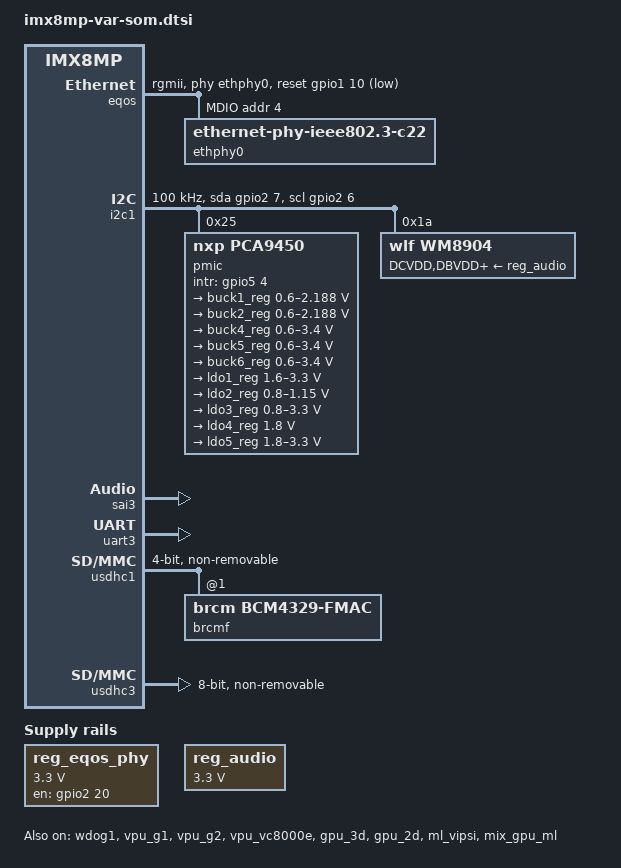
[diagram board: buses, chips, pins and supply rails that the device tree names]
// SPDX-License-Identifier: (GPL-2.0+ OR MIT)
/*
 * Copyright 2019 NXP
 * Copyright 2020-2021 Variscite Ltd.
 */

/dts-v1/;

#include <dt-bindings/usb/pd.h>
#include "imx8mp.dtsi"

/ {
	compatible = "variscite,imx8mp-var-som", "fsl,imx8mp";

	aliases {
		ethernet0 = &eqos;
		ethernet1 = &fec;
	};

	/delete-node/ memory@40000000;

	reserved-memory {
		/* CMA region is configured by kernel command line as cma=<size>M */
		/delete-node/ linux,cma;
	};

	reg_eqos_phy: regulator-eqos-phy {
		compatible = "regulator-fixed";
		regulator-name = "eqos-phy";
		regulator-min-microvolt = <3300000>;
		regulator-max-microvolt = <3300000>;
		gpio = <&gpio2 20 GPIO_ACTIVE_HIGH>;
		enable-active-high;
		regulator-always-on;
	};

	reg_audio: regulator-audio-vdd {
		compatible = "regulator-fixed";
		regulator-name = "wm8904_supply";
		regulator-min-microvolt = <3300000>;
		regulator-max-microvolt = <3300000>;
		regulator-always-on;
	};

	sound-wm8904 {
		compatible = "fsl,imx-audio-wm8904";
		model = "wm8904-audio";
		audio-cpu = <&sai3>;
		audio-codec = <&wm8904>;
		audio-routing =
			"Headphone Jack", "HPOUTL",
			"Headphone Jack", "HPOUTR",
			"IN2L", "Line In Jack",
			"IN2R", "Line In Jack",
			"IN1L", "Mic Jack",
			"Playback", "CPU-Playback",
			"CPU-Capture", "Capture";
		status = "okay";
	};
};

&clk {
	init-on-array = <IMX8MP_CLK_HSIO_ROOT>;
};

&A53_0 {
	cpu-supply = <&buck2_reg>;
};

&eqos {
	pinctrl-names = "default";
	pinctrl-0 = <&pinctrl_eqos>;
	phy-mode = "rgmii";
	phy-handle = <&ethphy0>;
	snps,reset-gpio = <&gpio1 10 GPIO_ACTIVE_LOW>;
	snps,reset-delays-us = <100000 10000 100000>;
	mdio_rst_after_resume;
	status = "okay";

	mdio {
		compatible = "snps,dwmac-mdio";
		#address-cells = <1>;
		#size-cells = <0>;

		ethphy0: ethernet-phy@4 {
			compatible = "ethernet-phy-ieee802.3-c22";
			reg = <4>;
			at803x,eee-disabled;
			at803x,vddio-1p8v;
			eee-broken-1000t;
		};
	};
};

&i2c1 {
	clock-frequency = <100000>;
	pinctrl-names = "default", "gpio";
	pinctrl-0 = <&pinctrl_i2c1>;
	pinctrl-1 = <&pinctrl_i2c1_gpio>;
	scl-gpios = <&gpio2 6 GPIO_ACTIVE_HIGH>;
	sda-gpios = <&gpio2 7 GPIO_ACTIVE_HIGH>;
	status = "okay";

	pmic: pca9450@25 {
		reg = <0x25>;
		compatible = "nxp,pca9450";
		pinctrl-0 = <&pinctrl_pmic>;
		gpio_intr = <&gpio5 4 IRQ_TYPE_LEVEL_LOW>;
		status = "okay";

		regulators {
			#address-cells = <1>;
			#size-cells = <0>;

			pca9450,pmic-buck2-uses-i2c-dvs;
			/* Run/Standby voltage */
			pca9450,pmic-buck2-dvs-voltage = <950000>, <850000>;

			buck1_reg: regulator@0 {
				reg = <0>;
				regulator-compatible = "buck1";
				regulator-min-microvolt = <600000>;
				regulator-max-microvolt = <2187500>;
				regulator-boot-on;
				regulator-always-on;
				regulator-ramp-delay = <3125>;
			};

			buck2_reg: regulator@1 {
				reg = <1>;
				regulator-compatible = "buck2";
				regulator-min-microvolt = <600000>;
				regulator-max-microvolt = <2187500>;
				regulator-boot-on;
				regulator-always-on;
				regulator-ramp-delay = <3125>;
			};

			buck4_reg: regulator@3 {
				reg = <3>;
				regulator-compatible = "buck4";
				regulator-min-microvolt = <600000>;
				regulator-max-microvolt = <3400000>;
				regulator-boot-on;
				regulator-always-on;
			};

			buck5_reg: regulator@4 {
				reg = <4>;
				regulator-compatible = "buck5";
				regulator-min-microvolt = <600000>;
				regulator-max-microvolt = <3400000>;
				regulator-boot-on;
				regulator-always-on;
			};

			buck6_reg: regulator@5 {
				reg = <5>;
				regulator-compatible = "buck6";
				regulator-min-microvolt = <600000>;
				regulator-max-microvolt = <3400000>;
				regulator-boot-on;
				regulator-always-on;
			};

			ldo1_reg: regulator@6 {
				reg = <6>;
				regulator-compatible = "ldo1";
				regulator-min-microvolt = <1600000>;
				regulator-max-microvolt = <3300000>;
				regulator-boot-on;
				regulator-always-on;
			};

			ldo2_reg: regulator@7 {
				reg = <7>;
				regulator-compatible = "ldo2";
				regulator-min-microvolt = <800000>;
				regulator-max-microvolt = <1150000>;
				regulator-boot-on;
				regulator-always-on;
			};

			ldo3_reg: regulator@8 {
				reg = <8>;
				regulator-compatible = "ldo3";
				regulator-min-microvolt = <800000>;
				regulator-max-microvolt = <3300000>;
				regulator-boot-on;
				regulator-always-on;
			};

			ldo4_reg: regulator@9 {
				reg = <9>;
				regulator-compatible = "ldo4";
				regulator-min-microvolt = <1800000>;
				regulator-max-microvolt = <1800000>;
				regulator-always-on;
			};

			ldo5_reg: regulator@10 {
				reg = <10>;
				regulator-compatible = "ldo5";
				regulator-min-microvolt = <1800000>;
				regulator-max-microvolt = <3300000>;
			};
		};
	};

	wm8904: codec@1a {
		compatible = "wlf,wm8904";
		reg = <0x1a>;
		clocks = <&audiomix_clk IMX8MP_CLK_AUDIOMIX_SAI3_MCLK1>;
		clock-names = "mclk";
		DCVDD-supply = <&reg_audio>;
		DBVDD-supply = <&reg_audio>;
		AVDD-supply = <&reg_audio>;
		CPVDD-supply = <&reg_audio>;
		MICVDD-supply = <&reg_audio>;
		num-drc-cfgs = <5>;
		drc-cfg-names = "default", "peaklimiter", "tradition", "soft", "music";
		drc-cfg-regs =
				/* coded default: KNEE_IP = KNEE_OP = 0, HI_COMP = LO_COMP = 1  */
				<0x01af 0x3248 0x0000 0x0000>,
				/* coded default: KNEE_IP = -24, KNEE_OP = -6, HI_COMP = 1/4, LO_COMP = 1 */
				<0x04af 0x324b 0x0010 0x0408>,
				/* coded default: KNEE_IP = -42, KNEE_OP = -3, HI_COMP = 0, LO_COMP = 1 */
				<0x04af 0x324b 0x0028 0x0704>,
				/* coded default: KNEE_IP = -45, KNEE_OP = -9, HI_COMP = 1/8, LO_COMP = 1 */
				<0x04af 0x324b 0x0018 0x078c>,
				/* coded default: KNEE_IP = -30, KNEE_OP = -10.5, HI_COMP = 1/4, LO_COMP = 1 */
				<0x04af 0x324b 0x0010 0x050e>;
		gpio-cfg = <
			0x0018 /* GPIO1 => DMIC_CLK */
			0xffff /* GPIO2 => don't touch */
			0xffff /* GPIO3 => don't touch */
			0xffff /* GPIO4 => don't touch */
		>;
		status = "okay";
	};
};

&sai3 {
	pinctrl-names = "default";
	pinctrl-0 = <&pinctrl_sai3>;
	assigned-clocks = <&clk IMX8MP_CLK_SAI3>;
	assigned-clock-parents = <&clk IMX8MP_AUDIO_PLL1_OUT>;
	assigned-clock-rates = <11536000>;
	fsl,sai-mclk-direction-output;
	status = "okay";
};

&sdma2 {
	status = "okay";
};

/* BT */
&uart3 {
	pinctrl-names = "default";
	pinctrl-0 = <&pinctrl_uart3>, <&pinctrl_bt>;
	assigned-clocks = <&clk IMX8MP_CLK_UART3>;
	assigned-clock-parents = <&clk IMX8MP_SYS_PLL1_80M>;
	uart-has-rtscts;
	status = "okay";
};

&usdhc1 {
	#address-cells = <1>;
	#size-cells = <0>;
	pinctrl-names = "default", "state_100mhz", "state_200mhz";
	pinctrl-0 = <&pinctrl_usdhc1>, <&pinctrl_wifi>;
	pinctrl-1 = <&pinctrl_usdhc1_100mhz>, <&pinctrl_wifi>;
	pinctrl-2 = <&pinctrl_usdhc1_200mhz>, <&pinctrl_wifi>;
	bus-width = <4>;
	non-removable;
	keep-power-in-suspend;
	status = "okay";

	brcmf: bcrmf@1 {
		reg = <1>;
		compatible = "brcm,bcm4329-fmac";
	};
};

&usdhc3 {
	pinctrl-names = "default", "state_100mhz", "state_200mhz";
	pinctrl-0 = <&pinctrl_usdhc3>;
	pinctrl-1 = <&pinctrl_usdhc3_100mhz>;
	pinctrl-2 = <&pinctrl_usdhc3_200mhz>;
	bus-width = <8>;
	non-removable;
	status = "okay";
};

&wdog1 {
	pinctrl-names = "default";
	pinctrl-0 = <&pinctrl_wdog>;
	fsl,ext-reset-output;
	status = "okay";
};

&vpu_g1 {
	status = "okay";
};

&vpu_g2 {
	status = "okay";
};

&vpu_vc8000e {
	status = "okay";
};

&gpu_3d {
	status = "okay";
};

&gpu_2d {
	status = "okay";
};

&ml_vipsi {
	status = "okay";
};

&mix_gpu_ml {
	status = "okay";
};

&snvs_rtc {
	status = "disabled";
};

&iomuxc {
	pinctrl-names = "default";

	pinctrl_eqos: eqosgrp {
		fsl,pins = <
			MX8MP_IOMUXC_ENET_MDC__ENET_QOS_MDC				0x3
			MX8MP_IOMUXC_ENET_MDIO__ENET_QOS_MDIO				0x3
			MX8MP_IOMUXC_ENET_RD0__ENET_QOS_RGMII_RD0			0x91
			MX8MP_IOMUXC_ENET_RD1__ENET_QOS_RGMII_RD1			0x91
			MX8MP_IOMUXC_ENET_RD2__ENET_QOS_RGMII_RD2			0x91
			MX8MP_IOMUXC_ENET_RD3__ENET_QOS_RGMII_RD3			0x91
			MX8MP_IOMUXC_ENET_RXC__CCM_ENET_QOS_CLOCK_GENERATE_RX_CLK	0x91
			MX8MP_IOMUXC_ENET_RX_CTL__ENET_QOS_RGMII_RX_CTL			0x91
			MX8MP_IOMUXC_ENET_TD0__ENET_QOS_RGMII_TD0			0x1f
			MX8MP_IOMUXC_ENET_TD1__ENET_QOS_RGMII_TD1			0x1f
			MX8MP_IOMUXC_ENET_TD2__ENET_QOS_RGMII_TD2			0x1f
			MX8MP_IOMUXC_ENET_TD3__ENET_QOS_RGMII_TD3			0x1f
			MX8MP_IOMUXC_ENET_TX_CTL__ENET_QOS_RGMII_TX_CTL			0x1f
			MX8MP_IOMUXC_ENET_TXC__CCM_ENET_QOS_CLOCK_GENERATE_TX_CLK	0x1f
			MX8MP_IOMUXC_SD2_WP__GPIO2_IO20					0x19
			MX8MP_IOMUXC_GPIO1_IO10__GPIO1_IO10				0x19
		>;
	};

	pinctrl_i2c1: i2c1grp {
		fsl,pins = <
			MX8MP_IOMUXC_SD1_DATA4__I2C1_SCL				0x400001c3
			MX8MP_IOMUXC_SD1_DATA5__I2C1_SDA				0x400001c3
		>;
	};

	pinctrl_i2c1_gpio: i2c1gpiogrp {
		fsl,pins = <
			MX8MP_IOMUXC_SD1_DATA4__GPIO2_IO06				0x1c3
			MX8MP_IOMUXC_SD1_DATA5__GPIO2_IO07				0x1c3
		>;
	};

	pinctrl_pmic: pmicgrp {
		fsl,pins = <
			MX8MP_IOMUXC_SPDIF_RX__GPIO5_IO04				0x1c1
		>;
	};

	pinctrl_sai3: sai3grp {
		fsl,pins = <
			MX8MP_IOMUXC_SAI3_TXFS__AUDIOMIX_SAI3_TX_SYNC			0xd6
			MX8MP_IOMUXC_SAI3_TXC__AUDIOMIX_SAI3_TX_BCLK			0xd6
			MX8MP_IOMUXC_SAI3_RXD__AUDIOMIX_SAI3_RX_DATA00			0xd6
			MX8MP_IOMUXC_SAI3_TXD__AUDIOMIX_SAI3_TX_DATA00			0xd6
			MX8MP_IOMUXC_SAI3_MCLK__AUDIOMIX_SAI3_MCLK			0xd6
			MX8MP_IOMUXC_SAI3_RXFS__AUDIOMIX_SAI3_RX_SYNC			0xd6
			MX8MP_IOMUXC_SAI3_RXC__AUDIOMIX_SAI3_RX_BCLK			0xd6
		>;
	};

	pinctrl_usdhc1: usdhc1grp {
		fsl,pins = <
			MX8MP_IOMUXC_SD1_CLK__USDHC1_CLK				0x190
			MX8MP_IOMUXC_SD1_CMD__USDHC1_CMD				0x1d0
			MX8MP_IOMUXC_SD1_DATA0__USDHC1_DATA0				0x1d0
			MX8MP_IOMUXC_SD1_DATA1__USDHC1_DATA1				0x1d0
			MX8MP_IOMUXC_SD1_DATA2__USDHC1_DATA2				0x1d0
			MX8MP_IOMUXC_SD1_DATA3__USDHC1_DATA3				0x1d0
		>;
	};

	pinctrl_usdhc1_100mhz: usdhc1grp-100mhz {
		fsl,pins = <
			MX8MP_IOMUXC_SD1_CLK__USDHC1_CLK				0x194
			MX8MP_IOMUXC_SD1_CMD__USDHC1_CMD				0x1d4
			MX8MP_IOMUXC_SD1_DATA0__USDHC1_DATA0				0x1d4
			MX8MP_IOMUXC_SD1_DATA1__USDHC1_DATA1				0x1d4
			MX8MP_IOMUXC_SD1_DATA2__USDHC1_DATA2				0x1d4
			MX8MP_IOMUXC_SD1_DATA3__USDHC1_DATA3				0x1d4
		>;
	};

	pinctrl_usdhc1_200mhz: usdhc1grp-200mhz {
		fsl,pins = <
			MX8MP_IOMUXC_SD1_CLK__USDHC1_CLK				0x196
			MX8MP_IOMUXC_SD1_CMD__USDHC1_CMD				0x1d6
			MX8MP_IOMUXC_SD1_DATA0__USDHC1_DATA0				0x1d6
			MX8MP_IOMUXC_SD1_DATA1__USDHC1_DATA1				0x1d6
			MX8MP_IOMUXC_SD1_DATA2__USDHC1_DATA2				0x1d6
			MX8MP_IOMUXC_SD1_DATA3__USDHC1_DATA3				0x1d6
		>;
	};

	pinctrl_usdhc3: usdhc3grp {
		fsl,pins = <
			MX8MP_IOMUXC_NAND_WE_B__USDHC3_CLK				0x190
			MX8MP_IOMUXC_NAND_WP_B__USDHC3_CMD				0x1d0
			MX8MP_IOMUXC_NAND_DATA04__USDHC3_DATA0				0x1d0
			MX8MP_IOMUXC_NAND_DATA05__USDHC3_DATA1				0x1d0
			MX8MP_IOMUXC_NAND_DATA06__USDHC3_DATA2				0x1d0
			MX8MP_IOMUXC_NAND_DATA07__USDHC3_DATA3				0x1d0
			MX8MP_IOMUXC_NAND_RE_B__USDHC3_DATA4				0x1d0
			MX8MP_IOMUXC_NAND_CE2_B__USDHC3_DATA5				0x1d0
			MX8MP_IOMUXC_NAND_CE3_B__USDHC3_DATA6				0x1d0
			MX8MP_IOMUXC_NAND_CLE__USDHC3_DATA7				0x1d0
			MX8MP_IOMUXC_NAND_CE1_B__USDHC3_STROBE				0x190
		>;
	};

	pinctrl_usdhc3_100mhz: usdhc3grp-100mhz {
		fsl,pins = <
			MX8MP_IOMUXC_NAND_WE_B__USDHC3_CLK				0x194
			MX8MP_IOMUXC_NAND_WP_B__USDHC3_CMD				0x1d4
			MX8MP_IOMUXC_NAND_DATA04__USDHC3_DATA0				0x1d4
			MX8MP_IOMUXC_NAND_DATA05__USDHC3_DATA1				0x1d4
			MX8MP_IOMUXC_NAND_DATA06__USDHC3_DATA2				0x1d4
			MX8MP_IOMUXC_NAND_DATA07__USDHC3_DATA3				0x1d4
			MX8MP_IOMUXC_NAND_RE_B__USDHC3_DATA4				0x1d4
			MX8MP_IOMUXC_NAND_CE2_B__USDHC3_DATA5				0x1d4
			MX8MP_IOMUXC_NAND_CE3_B__USDHC3_DATA6				0x1d4
			MX8MP_IOMUXC_NAND_CLE__USDHC3_DATA7				0x1d4
			MX8MP_IOMUXC_NAND_CE1_B__USDHC3_STROBE				0x194
		>;
	};

	pinctrl_usdhc3_200mhz: usdhc3grp-200mhz {
		fsl,pins = <
			MX8MP_IOMUXC_NAND_WE_B__USDHC3_CLK				0x196
			MX8MP_IOMUXC_NAND_WP_B__USDHC3_CMD				0x1d6
			MX8MP_IOMUXC_NAND_DATA04__USDHC3_DATA0				0x1d6
			MX8MP_IOMUXC_NAND_DATA05__USDHC3_DATA1				0x1d6
			MX8MP_IOMUXC_NAND_DATA06__USDHC3_DATA2				0x1d6
			MX8MP_IOMUXC_NAND_DATA07__USDHC3_DATA3				0x1d6
			MX8MP_IOMUXC_NAND_RE_B__USDHC3_DATA4				0x1d6
			MX8MP_IOMUXC_NAND_CE2_B__USDHC3_DATA5				0x1d6
			MX8MP_IOMUXC_NAND_CE3_B__USDHC3_DATA6				0x1d6
			MX8MP_IOMUXC_NAND_CLE__USDHC3_DATA7				0x1d6
			MX8MP_IOMUXC_NAND_CE1_B__USDHC3_STROBE				0x196
		>;
	};

	pinctrl_wdog: wdoggrp {
		fsl,pins = <
			MX8MP_IOMUXC_GPIO1_IO02__WDOG1_WDOG_B				0xc6
		>;
	};

	pinctrl_wifi: wifigrp {
		fsl,pins = <
			MX8MP_IOMUXC_SD1_DATA6__GPIO2_IO08				0xc1 /* WIFI_EN  */
			MX8MP_IOMUXC_SD2_RESET_B__GPIO2_IO19				0xc1 /* WIFI_PWR */
		>;
	};

	pinctrl_bt: btgrp {
		fsl,pins = <
			MX8MP_IOMUXC_SD1_DATA7__GPIO2_IO09				0xc1 /* BT_EN */
			MX8MP_IOMUXC_GPIO1_IO04__GPIO1_IO04				0xc1 /* BT_BUF */
			MX8MP_IOMUXC_SD1_RESET_B__GPIO2_IO10				0xc1
		>;
	};

	pinctrl_extcon: extcongrp {
		fsl,pins = <
			MX8MP_IOMUXC_GPIO1_IO05__GPIO1_IO05				0x19
		>;
	};
};
